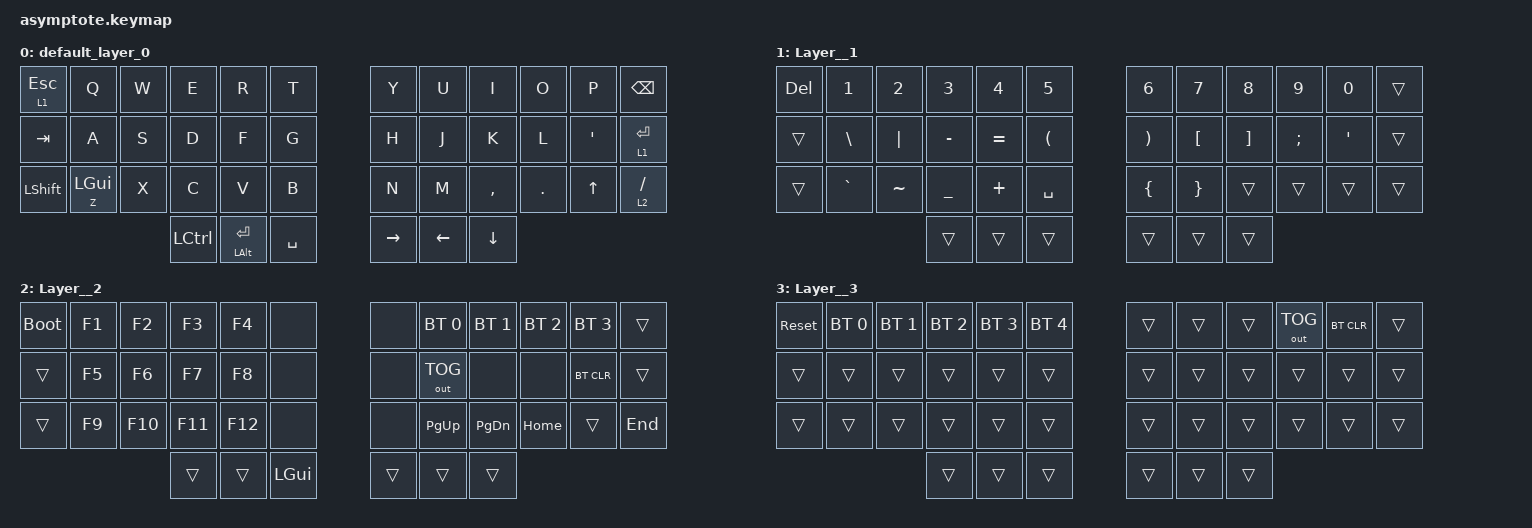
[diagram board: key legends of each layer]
/*
 * Copyright (c) 2020 The ZMK Contributors
 *
 * SPDX-License-Identifier: MIT
 */

#include <behaviors.dtsi>
#include <dt-bindings/zmk/keys.h>
#include <dt-bindings/zmk/bt.h>
#include <dt-bindings/zmk/outputs.h>

&mt {
    tapping-term-ms = <200>;
};

&lt {
    quick-tap-ms = <400>;
};

/ {
    keymap {
        compatible = "zmk,keymap";

        default_layer_0 {
            bindings = <
&lt 1 ESC           &kp Q  &kp W      &kp E               &kp R      &kp T        &kp Y     &kp U      &kp I    &kp O    &kp P     &kp BSPC
  &kp TAB           &kp A  &kp S      &kp D               &kp F      &kp G        &kp H     &kp J      &kp K    &kp L  &kp SQT    &lt 1 RET
&kp LSHFT  &mt Z LEFT_GUI  &kp X      &kp C               &kp V      &kp B        &kp N     &kp M  &kp COMMA  &kp DOT   &kp UP  &lt 2 SLASH
                                  &kp LCTRL  &mt LEFT_ALT ENTER  &kp SPACE    &kp RIGHT  &kp LEFT   &kp DOWN
            >;
        };

        Layer__1 {
            bindings = <
&kp DELETE         &kp N1     &kp N2     &kp N3     &kp N4                &kp N5                   &kp N6            &kp N7             &kp N8    &kp N9   &kp N0  &trans
    &trans  &kp BACKSLASH   &kp PIPE  &kp MINUS  &kp EQUAL  &kp LEFT_PARENTHESIS    &kp RIGHT_PARENTHESIS  &kp LEFT_BRACKET  &kp RIGHT_BRACKET  &kp SEMI  &kp SQT  &trans
    &trans      &kp GRAVE  &kp TILDE  &kp UNDER   &kp PLUS             &kp SPACE           &kp LEFT_BRACE   &kp RIGHT_BRACE             &trans    &trans   &trans  &trans
                                         &trans     &trans                &trans                   &trans            &trans             &trans
            >;
        };

        Layer__2 {
            bindings = <
&bootloader  &kp F1   &kp F2   &kp F3   &kp F4         &none     &none  &bt BT_SEL 0   &bt BT_SEL 1  &bt BT_SEL 2  &bt BT_SEL 3   &trans
     &trans  &kp F5   &kp F6   &kp F7   &kp F8         &none     &none  &out OUT_TOG          &none         &none    &bt BT_CLR   &trans
     &trans  &kp F9  &kp F10  &kp F11  &kp F12         &none     &none   &kp PAGE_UP  &kp PAGE_DOWN      &kp HOME        &trans  &kp END
                               &trans   &trans  &kp LEFT_GUI    &trans        &trans         &trans
            >;
        };

        Layer__3 {
            bindings = <
&sys_reset  &bt BT_SEL 0  &bt BT_SEL 1  &bt BT_SEL 2  &bt BT_SEL 3  &bt BT_SEL 4    &trans  &trans  &trans  &out OUT_TOG  &bt BT_CLR  &trans
    &trans        &trans        &trans        &trans        &trans        &trans    &trans  &trans  &trans        &trans      &trans  &trans
    &trans        &trans        &trans        &trans        &trans        &trans    &trans  &trans  &trans        &trans      &trans  &trans
                                              &trans        &trans        &trans    &trans  &trans  &trans
            >;
        };
    };
};
